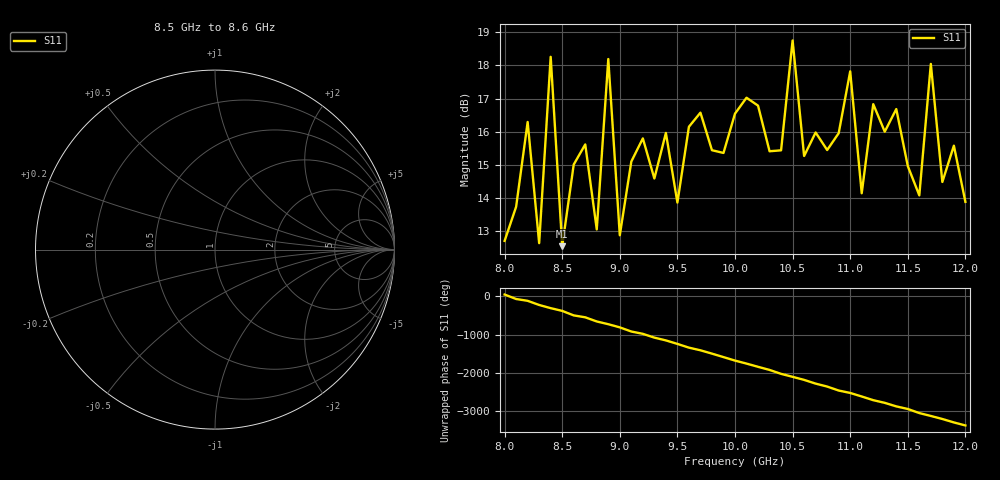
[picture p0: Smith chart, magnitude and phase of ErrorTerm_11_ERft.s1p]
!  1-Port S-parameters saved by WinCal
! VAR NAME=2-Port SOLT labuser 3
! VAR Error Term Name=ERft phys rcv port 1 phys src port 1
# Hz S RI R 50
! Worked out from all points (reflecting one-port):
!   41 points, 8 GHz to 12 GHz, reference 50 ohm
!   lowest |S11| = 12.6 dB at 8.5 GHz (marker M1)
!   phase of S11 starts at 45 deg and turns -3411 deg over the sweep
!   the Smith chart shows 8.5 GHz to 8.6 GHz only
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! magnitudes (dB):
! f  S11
! 8 GHz  12.7
! 8.2 GHz  16.3
! 8.3 GHz  12.6
! 8.4 GHz  18.3
! 8.5 GHz  12.6
! 8.7 GHz  15.6
! 8.8 GHz  13.1
! 8.9 GHz  18.2
! 9 GHz  12.9
! 9.2 GHz  15.8
! 9.3 GHz  14.6
! 9.4 GHz  16.0
! 9.5 GHz  13.9
! 9.6 GHz  16.1
! 10 GHz  16.5
! 10.4 GHz  15.4
! 10.5 GHz  18.7
! 10.6 GHz  15.3
! 10.9 GHz  16.0
! 11 GHz  17.8
! 11.1 GHz  14.1
! 11.2 GHz  16.8
! 11.5 GHz  15.0
! 11.6 GHz  14.1
! 11.7 GHz  18.0
! 11.8 GHz  14.5
! 11.9 GHz  15.6
! 12 GHz  13.9
